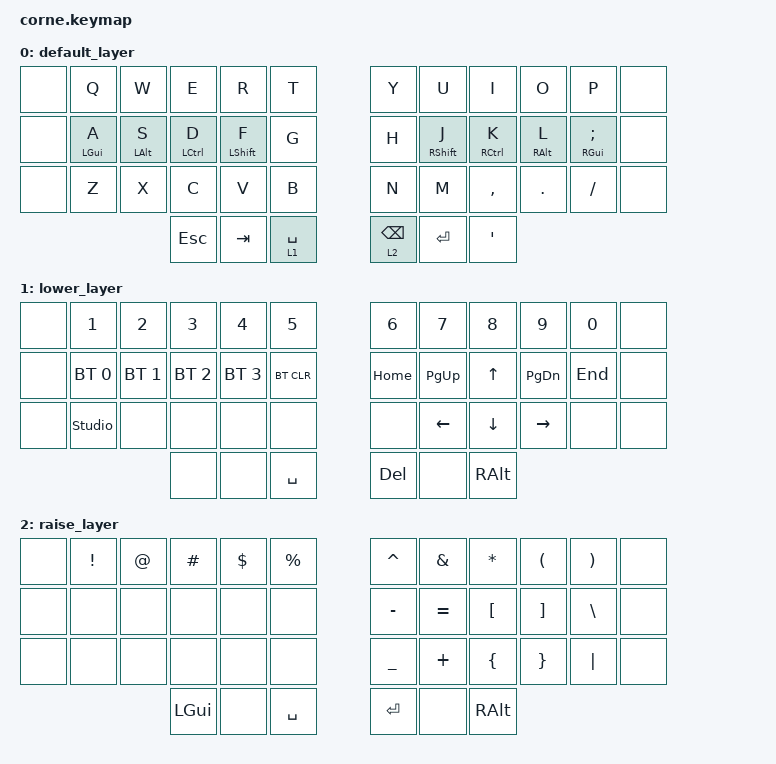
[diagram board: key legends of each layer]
/*
 * Copyright (c) 2020 The ZMK Contributors
 *
 * SPDX-License-Identifier: MIT
 */

#include <behaviors.dtsi>
#include <dt-bindings/zmk/bt.h>
#include <dt-bindings/zmk/keys.h>

/ {
    behaviors {
        hm: homerow_mods {
            compatible = "zmk,behavior-hold-tap";
            #binding-cells = <2>;
            tapping-term-ms = <200>;
            quick-tap-ms = <125>;
            require-prior-idle-ms = <125>;
            flavor = "tap-preferred";
            bindings = <&kp>, <&kp>;
        };
    };

    keymap {
        compatible = "zmk,keymap";

        default_layer {
            // -----------------------------------------------------------------------------------------
            // |  Q  |  W  |  E  |  R  |  T  |   |  Y  |  U  |  I  |  O  |  P  |
            // |  A  |  S  |  D  |  F  |  G  |   |  H  |  J  |  K  |  L  |  ;  |
            // | GUI | ALT |CTRL |SHFT |     |   |     |SHFT |CTRL | ALT | GUI |
            // |  Z  |  X  |  C  |  V  |  B  |   |  N  |  M  |  ,  |  .  |  /  |
            //             | GUI | LWR | SPC |   | ENT | RSE | ALT |

            bindings = <
&none  &kp Q       &kp W       &kp E        &kp R        &kp T          &kp Y            &kp U        &kp I             &kp O       &kp P          &none
&none  &hm LGUI A  &hm LALT S  &hm LCTRL D  &hm LSHFT F  &kp G          &kp H            &hm RSHFT J  &hm RCTRL K       &hm RALT L  &hm RGUI SEMI  &none
&none  &kp Z       &kp X       &kp C        &kp V        &kp B          &kp N            &kp M        &kp COMMA         &kp DOT     &kp FSLH       &none
                               &kp ESCAPE   &kp TAB      &lt 1 SPACE    &lt 2 BACKSPACE  &kp ENTER    &kp SINGLE_QUOTE
            >;
        };

        lower_layer {
            // -----------------------------------------------------------------------------------------
            // |  1  |  2  |  3  |  4  |  5  |   |  6  |  7  |  8  |  9  |  0  |
            // | BT0 | BT1 | BT2 | BT3 |BTCLR|   | LFT | DWN |  UP | RGT |     |
            // |     |     |     |     |     |   |     |     |     |     |     |
            //             | GUI |     | SPC |   | ENT |     | ALT |

            bindings = <
&none  &kp N1          &kp N2        &kp N3        &kp N4        &kp N5        &kp N6      &kp N7       &kp N8          &kp N9         &kp N0   &none
&none  &bt BT_SEL 0    &bt BT_SEL 1  &bt BT_SEL 2  &bt BT_SEL 3  &bt BT_CLR    &kp HOME    &kp PAGE_UP  &kp UP          &kp PAGE_DOWN  &kp END  &none
&none  &studio_unlock  &none         &none         &none         &none         &none       &kp LEFT     &kp DOWN_ARROW  &kp RIGHT      &none    &none
                                     &none         &none         &kp SPACE     &kp DELETE  &none        &kp RALT
            >;
        };

        raise_layer {
            // -----------------------------------------------------------------------------------------
            // |  !  |  @  |  #  |  $  |  %  |   |  ^  |  &  |  *  |  (  |  )  |
            // |     |     |     |     |     |   |  -  |  =  |  [  |  ]  |  \  |
            // |     |     |     |     |     |   |  _  |  +  |  {  |  }  | "|" |
            //             | GUI |     | SPC |   | ENT |     | ALT |

            bindings = <
&none  &kp EXCL  &kp AT  &kp HASH  &kp DLLR  &kp PRCNT    &kp CARET  &kp AMPS   &kp ASTRK  &kp LPAR  &kp RPAR  &none
&none  &none     &none   &none     &none     &none        &kp MINUS  &kp EQUAL  &kp LBKT   &kp RBKT  &kp BSLH  &none
&none  &none     &none   &none     &none     &none        &kp UNDER  &kp PLUS   &kp LBRC   &kp RBRC  &kp PIPE  &none
                         &kp LGUI  &none     &kp SPACE    &kp RET    &none      &kp RALT
            >;
        };
    };
};
